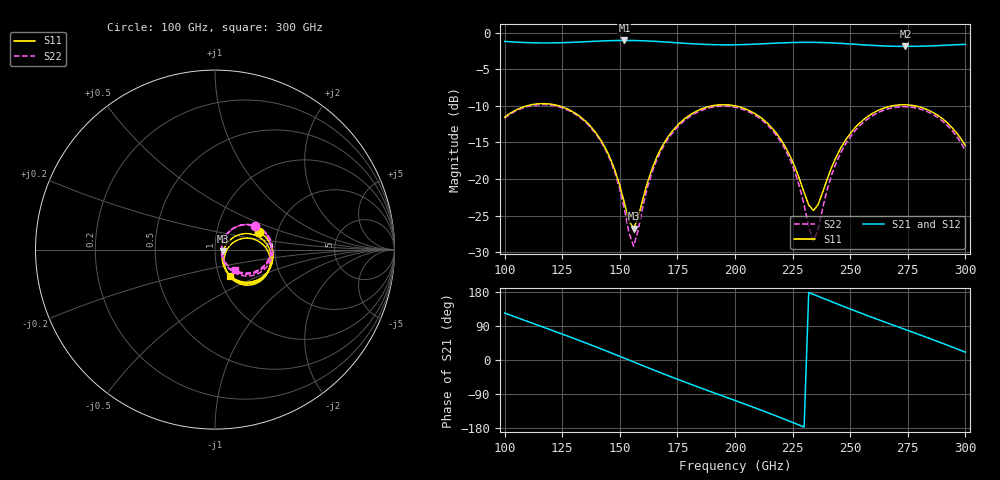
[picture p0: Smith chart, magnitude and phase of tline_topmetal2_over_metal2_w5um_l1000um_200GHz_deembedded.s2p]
! Created with skrf 2.0.1 (http://scikit-rf.org).
# GHz S DB R 50.0
!freq dBS11 angS11 dBS21 angS21 dBS12 angS12 dBS22 angS22
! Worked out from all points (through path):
!   101 points, 100 GHz to 300 GHz, reference 50 ohm
!   highest |S21| = -1.08 dB at 152 GHz (marker M1); lowest = -1.9 dB at 274 GHz (marker M2)
!   group delay of S21, straight-line fit = 6.47 ps
!   lowest |S11| = -26.8 dB at 156 GHz (marker M3), VSWR 1.10, Z = 54.7 - j0.995 ohm
!   |S11| at or under -10 dB: 123.4 GHz to 190.1 GHz (66.74 GHz wide, 42.6 % of centre); 199.9 GHz to 268.5 GHz (68.62 GHz wide, 29.3 % of centre); 277.9 GHz to end of sweep (the widest 3 of 4)
!   |S22| runs from -29.2 to -9.8 dB; largest |S21 - S12| = 1.5e-14
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100  -11.57 21.7  -1.21 124.1  -1.21 124.1  -11.70 30.5
108  -10.17 5.9  -1.36 106.1  -1.36 106.1  -10.30 15.1
118  -9.72 -13.9  -1.42 84.0  -1.42 84.0  -9.85 -4.1
134  -11.79 -45.0  -1.27 47.9  -1.27 47.9  -11.94 -34.8
144  -15.94 -60.8  -1.13 24.2  -1.13 24.2  -16.16 -51.5
152  -23.27 -54.0  -1.08 4.7  -1.08 4.7  -24.14 -48.3
156  -26.76 -11.4  -1.09 -5.1  -1.09 -5.1  -29.17 1.5
162  -20.47 32.2  -1.15 -19.8  -1.15 -19.8  -21.14 51.7
168  -15.76 31.2  -1.26 -34.2  -1.26 -34.2  -16.09 49.0
184  -10.62 4.6  -1.58 -71.2  -1.58 -71.2  -10.83 21.2
200  -10.01 -25.6  -1.67 -106.8  -1.67 -106.8  -10.20 -9.3
210  -11.34 -43.8  -1.57 -129.3  -1.57 -129.3  -11.55 -28.2
220  -14.65 -58.9  -1.42 -152.7  -1.42 -152.7  -14.98 -45.5
226  -18.34 -61.1  -1.36 -167.2  -1.36 -167.2  -19.04 -51.2
234  -24.30 -19.4  -1.34 173.2  -1.34 173.2  -28.44 -2.3
242  -18.36 22.4  -1.42 153.7  -1.42 153.7  -19.39 52.5
248  -14.68 20.3  -1.53 139.3  -1.53 139.3  -15.21 47.3
258  -11.37 5.7  -1.73 116.0  -1.73 116.0  -11.70 30.4
268  -10.03 -11.8  -1.87 93.5  -1.87 93.5  -10.30 11.6
274  -9.87 -22.6  -1.90 80.2  -1.90 80.2  -10.13 0.2
286  -10.91 -43.4  -1.81 53.3  -1.81 53.3  -11.21 -22.6
300  -15.45 -61.1  -1.62 20.6  -1.62 20.6  -16.10 -46.1
